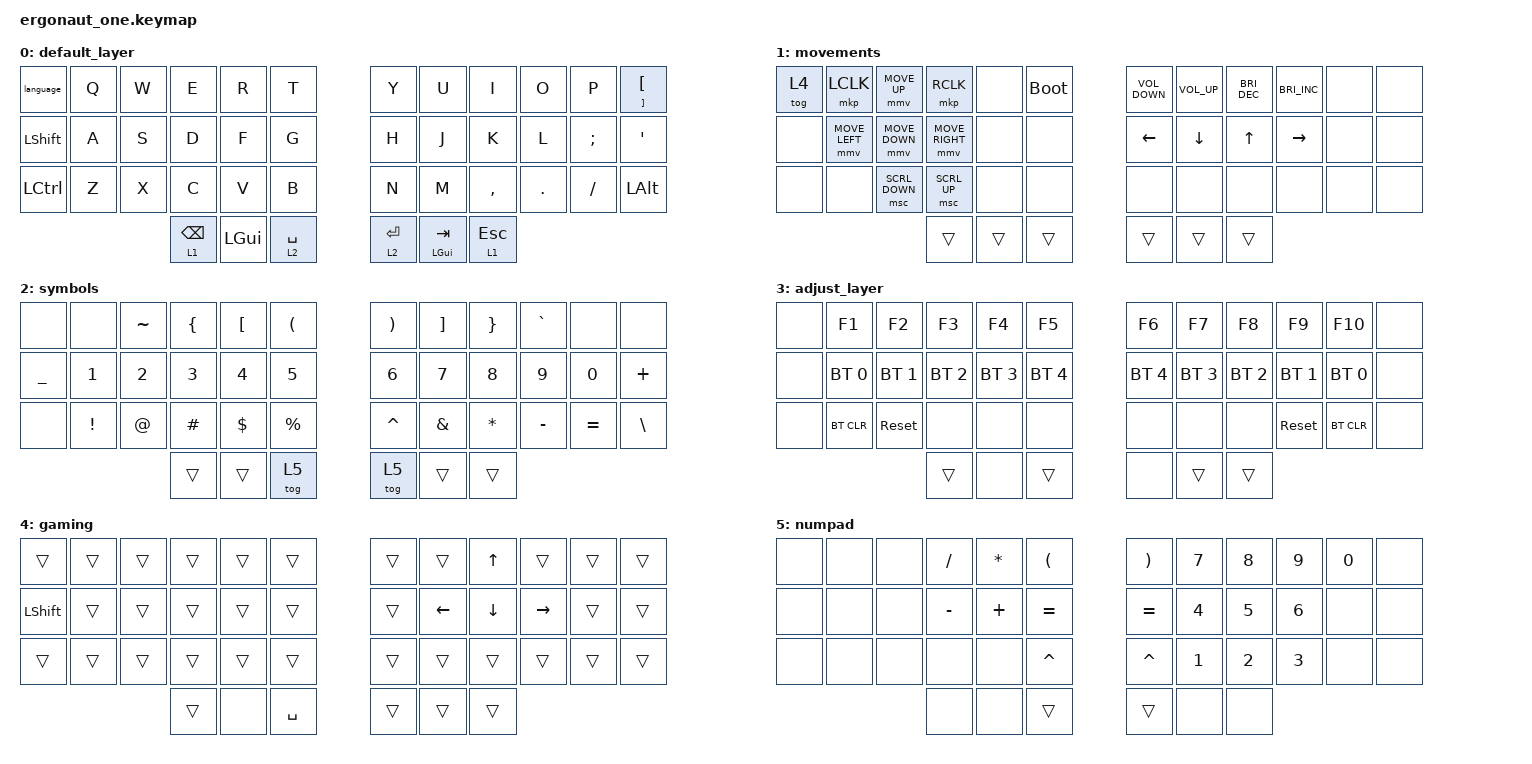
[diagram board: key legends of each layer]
#define ZMK_POINTING_DEFAULT_MOVE_VAL 1500  // default: 600
#define ZMK_POINTING_DEFAULT_SCRL_VAL 20    // default: 10

#include <behaviors.dtsi>
#include <dt-bindings/zmk/bt.h>
#include <dt-bindings/zmk/keys.h>
#include <dt-bindings/zmk/pointing.h>

#define DEF 0
#define LWR 1
#define RSE 2
#define ADJ 3

&lt { quick-tap-ms = <200>; };

&mt { quick-tap-ms = <400>; };

/ {
    conditional_layers {
        compatible = "zmk,conditional-layers";

        tri-layer {
            if-layers = <2 1>;
            then-layer = <3>;
        };
    };

    behaviors {
        hm: hm {
            compatible = "zmk,behavior-hold-tap";
            label = "Home row mods";
            #binding-cells = <2>;
            flavor = "tap-preferred";
            tapping-term-ms = <100>;
            quick-tap-ms = <100>;
            hold-trigger-key-positions = <16 15 20 19>;
            bindings = <&kp>, <&kp>;
        };
    };

    combos { compatible = "zmk,combos"; };

    macros {
        language: language {
            compatible = "zmk,behavior-macro";
            #binding-cells = <0>;
            bindings
            = <¯o_press &kp LEFT_ALT>
            , <¯o_press &kp LEFT_SHIFT>
            , <¯o_pause_for_release>
            , <¯o_release &kp LEFT_ALT>
            , <¯o_release &kp LEFT_SHIFT>;
            label = "LANGUAGE";
        };
    };


    keymap {
        compatible = "zmk,keymap";

        default_layer {
            bindings = <
&language       &kp Q  &kp W  &kp E            &kp R         &kp T        &kp Y        &kp U             &kp I         &kp O    &kp P     &mt RIGHT_BRACKET LEFT_BRACKET
&kp LEFT_SHIFT  &kp A  &kp S  &kp D            &kp F         &kp G        &kp H        &kp J             &kp K         &kp L    &kp SEMI  &kp SQT
&kp LCTRL       &kp Z  &kp X  &kp C            &kp V         &kp B        &kp N        &kp M             &kp COMMA     &kp DOT  &kp FSLH  &kp LEFT_ALT
                              &lt 1 BACKSPACE  &kp LEFT_GUI  &lt 2 SPACE  &lt 2 ENTER  &mt LEFT_GUI TAB  &lt 1 ESCAPE
            >;
        };

        movements {
            bindings = <
&tog 4  &mkp LCLK       &mmv MOVE_UP    &mkp RCLK        &none   &bootloader  &kp C_VOLUME_DOWN  &kp C_VOLUME_UP  &kp C_BRIGHTNESS_DEC  &kp C_BRIGHTNESS_INC  &none  &none
&none   &mmv MOVE_LEFT  &mmv MOVE_DOWN  &mmv MOVE_RIGHT  &none   &none        &kp LEFT_ARROW     &kp DOWN_ARROW   &kp UP                &kp RIGHT             &none  &none
&none   &none           &msc SCRL_DOWN  &msc SCRL_UP     &none   &none        &none              &none            &none                 &none                 &none  &none
                                        &trans           &trans  &trans       &trans             &trans           &trans
            >;
        };

        symbols {
            bindings = <
&none           &none            &kp TILDE     &kp LEFT_BRACE  &kp LEFT_BRACKET  &kp LEFT_PARENTHESIS  &kp RIGHT_PARENTHESIS  &kp RIGHT_BRACKET  &kp RIGHT_BRACE  &kp GRAVE  &none      &none
&kp UNDERSCORE  &kp NUMBER_1     &kp NUMBER_2  &kp NUMBER_3    &kp NUMBER_4      &kp N5                &kp NUMBER_6           &kp N7             &kp N8           &kp N9     &kp N0     &kp PLUS
&none           &kp EXCLAMATION  &kp AT_SIGN   &kp HASH        &kp DOLLAR        &kp PERCENT           &kp CARET              &kp AMPERSAND      &kp ASTERISK     &kp MINUS  &kp EQUAL  &kp BACKSLASH
                                               &trans          &trans            &tog 5                &tog 5                 &trans             &trans
            >;
        };

        adjust_layer {
            bindings = <
&none  &kp F1        &kp F2        &kp F3        &kp F4        &kp F5        &kp F6        &kp F7        &kp F8        &kp F9        &kp F10       &none
&none  &bt BT_SEL 0  &bt BT_SEL 1  &bt BT_SEL 2  &bt BT_SEL 3  &bt BT_SEL 4  &bt BT_SEL 4  &bt BT_SEL 3  &bt BT_SEL 2  &bt BT_SEL 1  &bt BT_SEL 0  &none
&none  &bt BT_CLR    &sys_reset    &none         &none         &none         &none         &none         &none         &sys_reset    &bt BT_CLR    &none
                                   &trans        &none         &trans        &none         &trans        &trans
            >;
        };

        gaming {
            bindings = <
&trans          &trans  &trans  &trans  &trans  &trans     &trans  &trans          &kp UP_ARROW    &trans           &trans  &trans
&kp LEFT_SHIFT  &trans  &trans  &trans  &trans  &trans     &trans  &kp LEFT_ARROW  &kp DOWN_ARROW  &kp RIGHT_ARROW  &trans  &trans
&trans          &trans  &trans  &trans  &trans  &trans     &trans  &trans          &trans          &trans           &trans  &trans
                                &trans  &none   &kp SPACE  &trans  &trans          &trans
            >;
        };

        numpad {
            bindings = <
&none  &none  &none  &kp SLASH  &kp ASTERISK  &kp LEFT_PARENTHESIS  &kp RIGHT_PARENTHESIS  &kp N7  &kp N8  &kp N9  &kp N0  &none
&none  &none  &none  &kp MINUS  &kp PLUS      &kp EQUAL             &kp EQUAL              &kp N4  &kp N5  &kp N6  &none   &none
&none  &none  &none  &none      &none         &kp CARET             &kp CARET              &kp N1  &kp N2  &kp N3  &none   &none
                     &none      &none         &trans                &trans                 &none   &none
            >;
        };
    };
};
